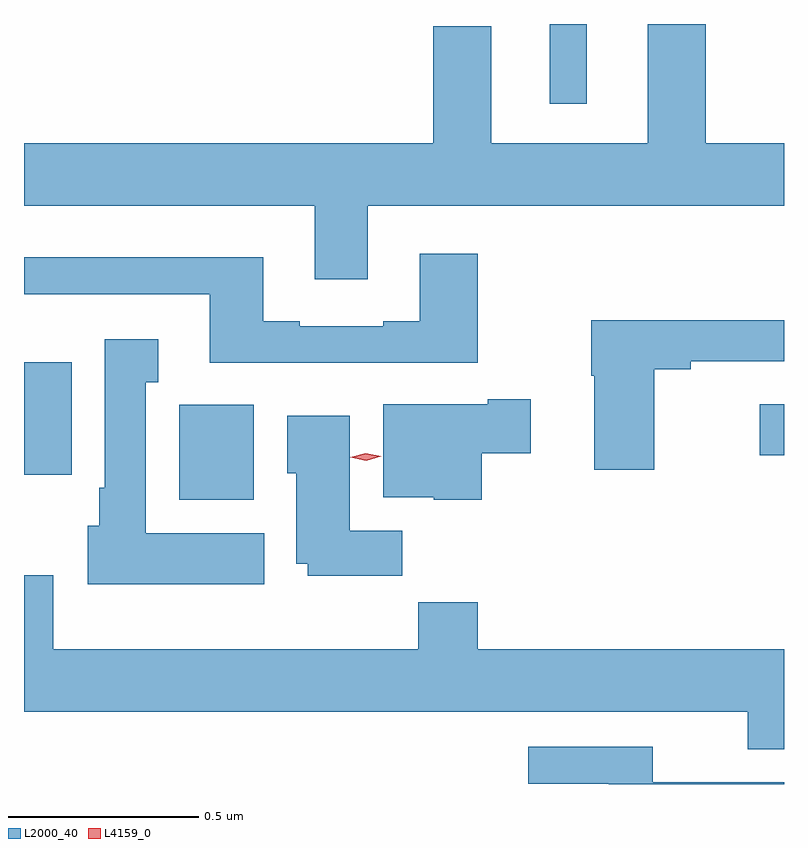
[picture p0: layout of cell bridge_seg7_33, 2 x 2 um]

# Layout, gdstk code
import gdstk
lib = gdstk.Library(unit=1e-6, precision=1e-09)
def R(c, l, rs):  # rectangles x0, y0, x1, y1
    for r in rs: c.add(gdstk.rectangle(r[:2], r[2:], *l))
def P(c, l, *ps):  # polygons
    for p in ps: c.add(gdstk.Polygon(p, *l))
L2000_40 = (2000, 40)
L4159_0 = (4159, 0)

bridge_seg7_33 = lib.new_cell('bridge_seg7_33')
R(bridge_seg7_33, L2000_40, [(998.307,1078.43,998.503,1078.68), (997.898,1078.496,998.023,1078.792), (999.834,1078.547,999.898,1078.681), (999.281,1079.472,999.379,1079.682)])
P(bridge_seg7_33, L2000_40, [(998.803,1079.204),(999.898,1079.204),(999.898,1079.368),(999.692,1079.368),(999.692,1079.682),(999.539,1079.682),(999.539,1079.368),(999.127,1079.368),(999.127,1079.676),(998.975,1079.676),(998.975,1079.368),(997.898,1079.368),(997.898,1079.204),(998.663,1079.204),(998.663,1079.01),(998.803,1079.01)],
  [(998.747,1078.791),(999.092,1078.791),(999.092,1079.077),(998.939,1079.077),(998.939,1078.9),(998.843,1078.9),(998.843,1078.887),(998.623,1078.887),(998.623,1078.9),(998.527,1078.9),(998.527,1079.068),(997.898,1079.068),(997.898,1078.971),(998.387,1078.971),(998.387,1078.79),(998.747,1078.79)],
  [(999.556,1078.774),(999.652,1078.774),(999.652,1078.794),(999.898,1078.794),(999.898,1078.903),(999.391,1078.903),(999.391,1078.757),(999.398,1078.757),(999.398,1078.509),(999.556,1078.509)],
  [(998.53,1078.342),(998.218,1078.342),(998.218,1078.739),(998.251,1078.739),(998.251,1078.852),(998.111,1078.852),(998.111,1078.462),(998.096,1078.462),(998.096,1078.362),(998.066,1078.362),(998.066,1078.208),(998.53,1078.208)],
  [(999.102,1078.552),(999.232,1078.552),(999.232,1078.694),(999.119,1078.694),(999.119,1078.681),(998.843,1078.681),(998.843,1078.436),(998.976,1078.436),(998.976,1078.43),(999.102,1078.43)],
  [(998.894,1078.348),(998.755,1078.348),(998.755,1078.651),(998.591,1078.651),(998.591,1078.5),(998.615,1078.5),(998.615,1078.262),(998.645,1078.262),(998.645,1078.23),(998.894,1078.23)],
  [(999.898,1078.036),(999.092,1078.036),(999.092,1078.16),(998.935,1078.16),(998.935,1078.036),(997.975,1078.036),(997.975,1078.231),(997.898,1078.231),(997.898,1077.872),(999.803,1077.872),(999.803,1077.773),(999.898,1077.773)],
  [(999.898,1077.686),(999.552,1077.686),(999.552,1077.78),(999.225,1077.78),(999.225,1077.683),(999.437,1077.683),(999.437,1077.682),(999.898,1077.682)])
P(bridge_seg7_33, L4159_0, [(998.798,1078.533),(998.757,1078.542),(998.757,1078.542),(998.757,1078.542),(998.797,1078.553),(998.838,1078.545),(998.838,1078.545),(998.838,1078.545)])

lib.write_gds('bridge_seg7_33.gds')
